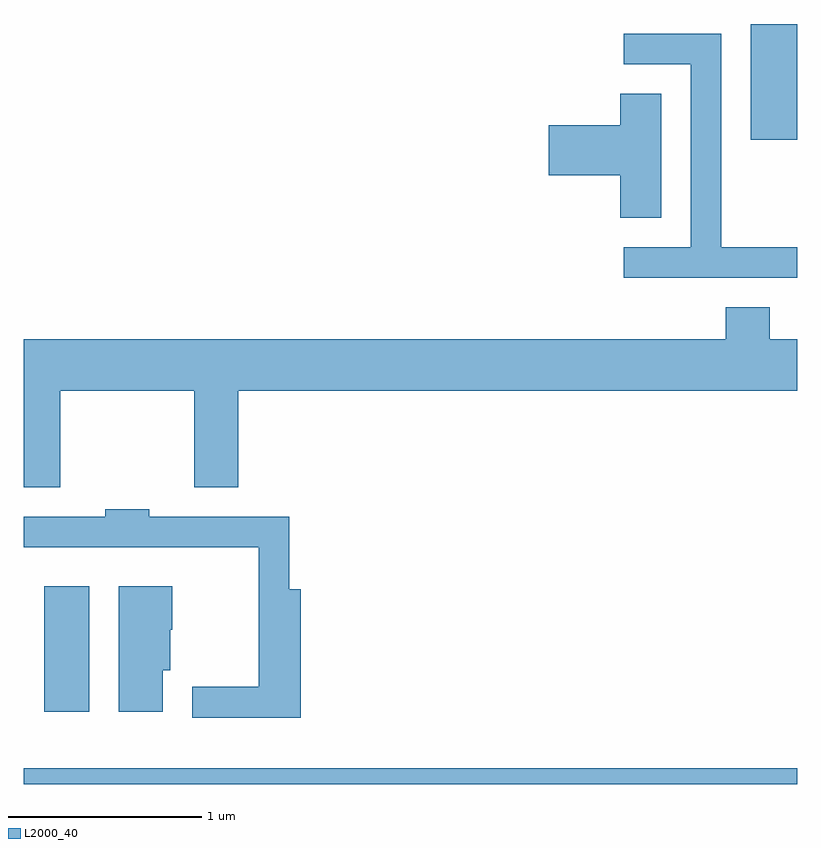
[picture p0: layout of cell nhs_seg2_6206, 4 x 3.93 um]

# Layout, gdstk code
import gdstk
lib = gdstk.Library(unit=1e-6, precision=1e-09)
def R(c, l, rs):  # rectangles x0, y0, x1, y1
    for r in rs: c.add(gdstk.rectangle(r[:2], r[2:], *l))
def P(c, l, *ps):  # polygons
    for p in ps: c.add(gdstk.Polygon(p, *l))
L2000_40 = (2000, 40)

nhs_seg2_6206 = lib.new_cell('nhs_seg2_6206')
R(nhs_seg2_6206, L2000_40, [(367.611,1081.802,371.611,1081.884), (367.716,1082.176,367.949,1082.824), (371.371,1085.136,371.611,1085.734)])
P(nhs_seg2_6206, L2000_40, [(371.611,1084.579),(371.219,1084.579),(371.219,1085.684),(370.713,1085.684),(370.713,1085.526),(371.061,1085.526),(371.061,1084.579),(370.713,1084.579),(370.713,1084.421),(371.611,1084.421)],
  [(370.909,1085.374),(370.696,1085.374),(370.696,1085.209),(370.326,1085.209),(370.326,1084.951),(370.696,1084.951),(370.696,1084.731),(370.909,1084.731)],
  [(367.799,1083.836),(368.491,1083.836),(368.491,1083.336),(368.719,1083.336),(368.719,1083.836),(371.611,1083.836),(371.611,1084.104),(371.469,1084.104),(371.469,1084.269),(371.241,1084.269),(371.241,1084.104),(367.611,1084.104),(367.611,1083.336),(367.799,1083.336)],
  [(369.044,1082.809),(368.984,1082.809),(368.984,1083.184),(368.259,1083.184),(368.259,1083.224),(368.031,1083.224),(368.031,1083.184),(367.611,1083.184),(367.611,1083.026),(368.826,1083.026),(368.826,1082.304),(368.483,1082.304),(368.483,1082.146),(369.044,1082.146)],
  [(368.329,1082.391),(368.369,1082.391),(368.369,1082.6),(368.379,1082.6),(368.379,1082.824),(368.101,1082.824),(368.101,1082.176),(368.329,1082.176)])

lib.write_gds('nhs_seg2_6206.gds')
